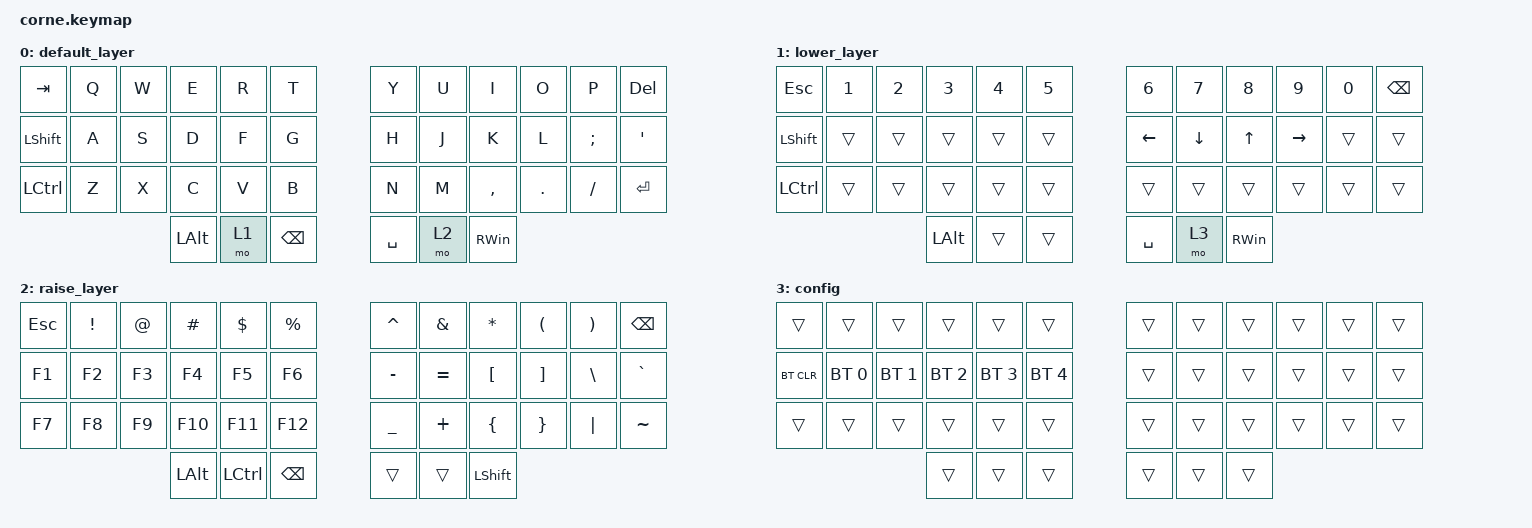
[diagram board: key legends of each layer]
/*
 * Copyright (c) 2020 The ZMK Contributors
 *
 * SPDX-License-Identifier: MIT
 */

#include <behaviors.dtsi>
#include <dt-bindings/zmk/bt.h>
#include <dt-bindings/zmk/keys.h>

/ {
    keymap {
        compatible = "zmk,keymap";

        default_layer {
            // -----------------------------------------------------------------------------------------
            // |  TAB |  Q  |  W  |  E  |  R  |  T  |   |  Y  |  U   |  I  |  O  |  P  | BSPC |
            // | CTRL |  A  |  S  |  D  |  F  |  G  |   |  H  |  J   |  K  |  L  |  ;  |  '   |
            // | SHFT |  Z  |  X  |  C  |  V  |  B  |   |  N  |  M   |  ,  |  .  |  /  | ESC  |
            //                    | GUI | LWR | SPC |   | ENT | RSE  | ALT |

            bindings = <
&kp TAB         &kp Q  &kp W  &kp E         &kp R  &kp T            &kp Y      &kp U  &kp I          &kp O    &kp P     &kp DEL
&kp LEFT_SHIFT  &kp A  &kp S  &kp D         &kp F  &kp G            &kp H      &kp J  &kp K          &kp L    &kp SEMI  &kp SQT
&kp LCTRL       &kp Z  &kp X  &kp C         &kp V  &kp B            &kp N      &kp M  &kp COMMA      &kp DOT  &kp FSLH  &kp ENTER
                              &kp LEFT_ALT  &mo 1  &kp BACKSPACE    &kp SPACE  &mo 2  &kp RIGHT_WIN
            >;
        };

        lower_layer {
            // -----------------------------------------------------------------------------------------
            // |  TAB |  1  |  2  |  3  |  4  |  5  |   |  6  |  7  |  8  |  9  |  0  | BSPC |
            // | BTCLR| BT1 | BT2 | BT3 | BT4 | BT5 |   | LFT | DWN |  UP | RGT |     |      |
            // | SHFT |     |     |     |     |     |   |     |     |     |     |     |      |
            //                    | GUI |     | SPC |   | ENT |     | ALT |

            bindings = <
&kp ESC    &kp N1  &kp N2  &kp N3    &kp N4  &kp N5    &kp N6     &kp N7    &kp N8    &kp N9     &kp N0  &kp BSPC
&kp LSHFT  &trans  &trans  &trans    &trans  &trans    &kp LEFT   &kp DOWN  &kp UP    &kp RIGHT  &trans  &trans
&kp LCTRL  &trans  &trans  &trans    &trans  &trans    &trans     &trans    &trans    &trans     &trans  &trans
                           &kp LALT  &trans  &trans    &kp SPACE  &mo 3     &kp RWIN
            >;
        };

        raise_layer {
            // -----------------------------------------------------------------------------------------
            // |  TAB |  !  |  @  |  #  |  $  |  %  |   |  ^  |  &  |  *  |  (  |  )  | BSPC |
            // | CTRL |     |     |     |     |     |   |  -  |  =  |  [  |  ]  |  \  |  `   |
            // | SHFT |     |     |     |     |     |   |  _  |  +  |  {  |  }  | "|" |  ~   |
            //                    | GUI |     | SPC |   | ENT |     | ALT |

            bindings = <
&kp ESC  &kp EXCL  &kp AT  &kp HASH  &kp DLLR   &kp PRCNT        &kp CARET  &kp AMPS   &kp ASTRK       &kp LPAR  &kp RPAR  &kp BSPC
&kp F1   &kp F2    &kp F3  &kp F4    &kp F5     &kp F6           &kp MINUS  &kp EQUAL  &kp LBKT        &kp RBKT  &kp BSLH  &kp GRAVE
&kp F7   &kp F8    &kp F9  &kp F10   &kp F11    &kp F12          &kp UNDER  &kp PLUS   &kp LBRC        &kp RBRC  &kp PIPE  &kp TILDE
                           &kp LALT  &kp LCTRL  &kp BACKSPACE    &trans     &trans     &kp LEFT_SHIFT
            >;
        };

        config {
            bindings = <
&trans      &trans        &trans        &trans        &trans        &trans          &trans  &trans  &trans  &trans  &trans  &trans
&bt BT_CLR  &bt BT_SEL 0  &bt BT_SEL 1  &bt BT_SEL 2  &bt BT_SEL 3  &bt BT_SEL 4    &trans  &trans  &trans  &trans  &trans  &trans
&trans      &trans        &trans        &trans        &trans        &trans          &trans  &trans  &trans  &trans  &trans  &trans
                                        &trans        &trans        &trans          &trans  &trans  &trans
            >;
        };
    };
};
